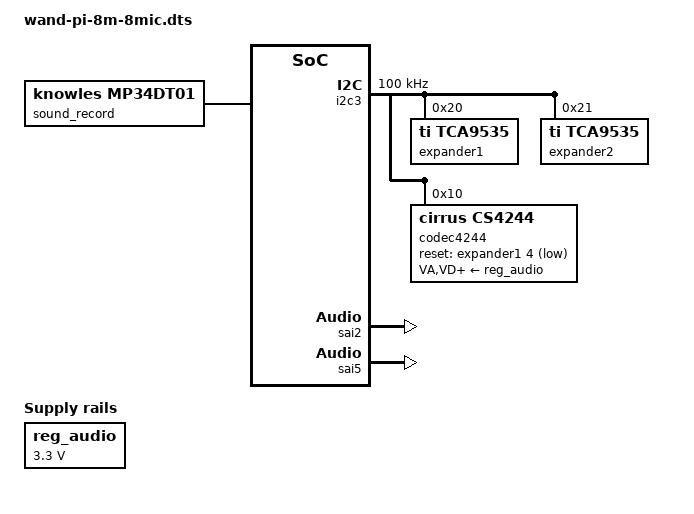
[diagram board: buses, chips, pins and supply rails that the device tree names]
/*
 * Copyright 2017 NXP
 *
 * This program is free software; you can redistribute it and/or
 * modify it under the terms of the GNU General Public License
 * as published by the Free Software Foundation; either version 2
 * of the License, or (at your option) any later version.
 *
 * This program is distributed in the hope that it will be useful,
 * but WITHOUT ANY WARRANTY; without even the implied warranty of
 * MERCHANTABILITY or FITNESS FOR A PARTICULAR PURPOSE.  See the
 * GNU General Public License for more details.
 */

#include "wand-pi-8m.dts"

/ {
	/delete-node/ sound-hdmi;

	aliases {
		csi0 = &mipi_csi_1;
		csi1 = &mipi_csi_2;
		ethernet0 = &fec1;
		serial0 = &uart1;
		serial1 = &uart2;
		serial2 = &uart3;
		serial3 = &uart4;
		mmc0 = &usdhc1;
		mmc1 = &usdhc2;
		gpio0 = &gpio1;
		gpio1 = &gpio2;
		gpio2 = &gpio3;
		gpio3 = &gpio4;
		gpio4 = &gpio5;
		dsi_phy0 = &mipi_dsi_phy;
		mipi_dsi0 = &mipi_dsi;
		i2c0 = &i2c1;
		i2c1 = &i2c2;
		i2c2 = &i2c3;
		i2c3 = &i2c4;
    };


        regulators {
                reg_audio: regulator@2 {
                        compatible = "regulator-fixed";
                        reg = <2>;
                        regulator-name = "cs4244_supply";
                        regulator-min-microvolt = <3300000>;
                        regulator-max-microvolt = <3300000>;
                        regulator-always-on;
                };
        };

	sound_record: codec {
		compatible = "knowles,mp34dt01";
		
	};

       sound@2 {
                compatible = "nxp,imx-audio-mp34dt01", "nxp,imx-mp34dt01";
                nxp,model = "MP34DT01";
                cpu-dai = <&sai2>;
                ssi-controller = <&sai2>;
                nxp,audio-codec = <&sound_record>;
                clocks = <&clk IMX8MQ_AUDIO_PLL1>;
        };

        sound-cs4244 {
                compatible = "fsl,imx6-sabreauto-cs4244", "fsl,imx-audio-cs4244";
                model = "imx-cs4244";
                sai-controller = <&sai5>;
                audio-codec = <&codec4244>;
                audio-wigets =
                        "Line Out Jack", "rox out jack",
                        "Line In Jack", "rox in jack";
                audio-routing =
                        "Line Out Jack", "AOUT1L",
                        "Line Out Jack", "AOUT1R",
                        "Line Out Jack", "AOUT2L",
                        "Line Out Jack", "AOUT2R",
                        "Line Out Jack", "AOUT3L",
                        "Line Out Jack", "AOUT3R",
                        "Line Out Jack", "AOUT4L",
                        "Line Out Jack", "AOUT4R",
                        "Line In Jack", "AIN1L",
                        "Line In Jack", "AIN1R",
                        "Line In Jack", "AIN2L",
                        "Line In Jack", "AIN2R",
                        "Line In Jack", "AIN3L",
                        "Line In Jack", "AIN3R",
                        "Line In Jack", "AIN4L",
                        "Line In Jack", "AIN4R";

        };

};

&iomuxc {
	pinctrl-names = "default";

	wand-pi-8m {

        pinctrl_sai2: sai2grp {
            fsl,pins = <
                MX8MQ_IOMUXC_SAI2_TXFS_SAI2_TX_SYNC 0xd6
                MX8MQ_IOMUXC_SAI2_TXC_SAI2_TX_BCLK  0xd6
                MX8MQ_IOMUXC_SAI2_MCLK_SAI2_MCLK    0xd6
                MX8MQ_IOMUXC_SAI2_TXD0_SAI2_TX_DATA0    0xd6
		MX8MQ_IOMUXC_SAI2_RXD0_SAI2_RX_DATA0    0xd6
                MX8MQ_IOMUXC_GPIO1_IO08_GPIO1_IO8   0xd6
		MX8MQ_IOMUXC_SAI1_TXFS_GPIO4_IO10   0xd6
            >;
        };

        pinctrl_sai5: sai5grp {
            fsl,pins = <
                MX8MQ_IOMUXC_SAI5_RXFS_SAI5_RX_SYNC 0xd1
                MX8MQ_IOMUXC_SAI5_RXC_SAI5_RX_BCLK  0xd1
                MX8MQ_IOMUXC_SAI3_MCLK_SAI5_MCLK    0xd1
                MX8MQ_IOMUXC_SAI5_RXD0_SAI5_RX_DATA0 0xd1
		MX8MQ_IOMUXC_SAI5_RXD3_SAI5_TX_DATA0 0xd1
            >;
        };


	pinctrl_i2c3: i2c3grp {
	     fsl,pins = <
		MX8MQ_IOMUXC_I2C3_SCL_I2C3_SCL			0x4000007f
		MX8MQ_IOMUXC_I2C3_SDA_I2C3_SDA			0x4000007f
			>;
		};


	};
};

&i2c3 {

	clock-frequency = <100000>;
	pinctrl-names = "default";
	pinctrl-0 = <&pinctrl_i2c3>;
	status = "okay";

	
        expander1:gpio@20 {
                compatible = "ti,tca9535";
                gpio-controller;
                #gpio-cells = <2>;
                reg = <0x20>;
        };
        expander2:gpio@21 {
                compatible = "ti,tca9535";
                reg = <0x21>;
                gpio-controller;
                #gpio-cells = <2>;
        };
        codec4244: cs4244@10 {
                compatible = "cirrus,cs4244";
                reg = <0x10>;
                clocks = <&codec_osc>;
                clock-names = "mclk";
                reset-gpios = <&expander1 4 GPIO_ACTIVE_LOW>;
                VA-supply = <&reg_audio>;
                VD-supply = <&reg_audio>;
                VLS-supply = <&reg_audio>;
	};

};

&sai2 {
	pinctrl-names = "default";
	pinctrl-0 = <&pinctrl_sai2>;
	assigned-clocks = <&clk IMX8MQ_CLK_SAI2_SRC>,
			<&clk IMX8MQ_CLK_SAI2_DIV>;
	assigned-clock-parents = <&clk IMX8MQ_AUDIO_PLL1_OUT>;
	assigned-clock-rates = <0>, <49152000>;
	status = "okay";
};

&sai5 {
	pinctrl-names = "default";
	pinctrl-0 = <&pinctrl_sai5>;
	assigned-clocks = <&clk IMX8MQ_CLK_SAI5_SRC>,
			<&clk IMX8MQ_CLK_SAI5_DIV>;
	assigned-clock-parents = <&clk IMX8MQ_AUDIO_PLL1_OUT>;
	assigned-clock-rates = <0>, <24576000>;
    fsl,dataline = <0x1 0x1>;
    fsl,shared-interrupt;
    fsl,sai-synchronous-rx;
	status = "okay";
};
